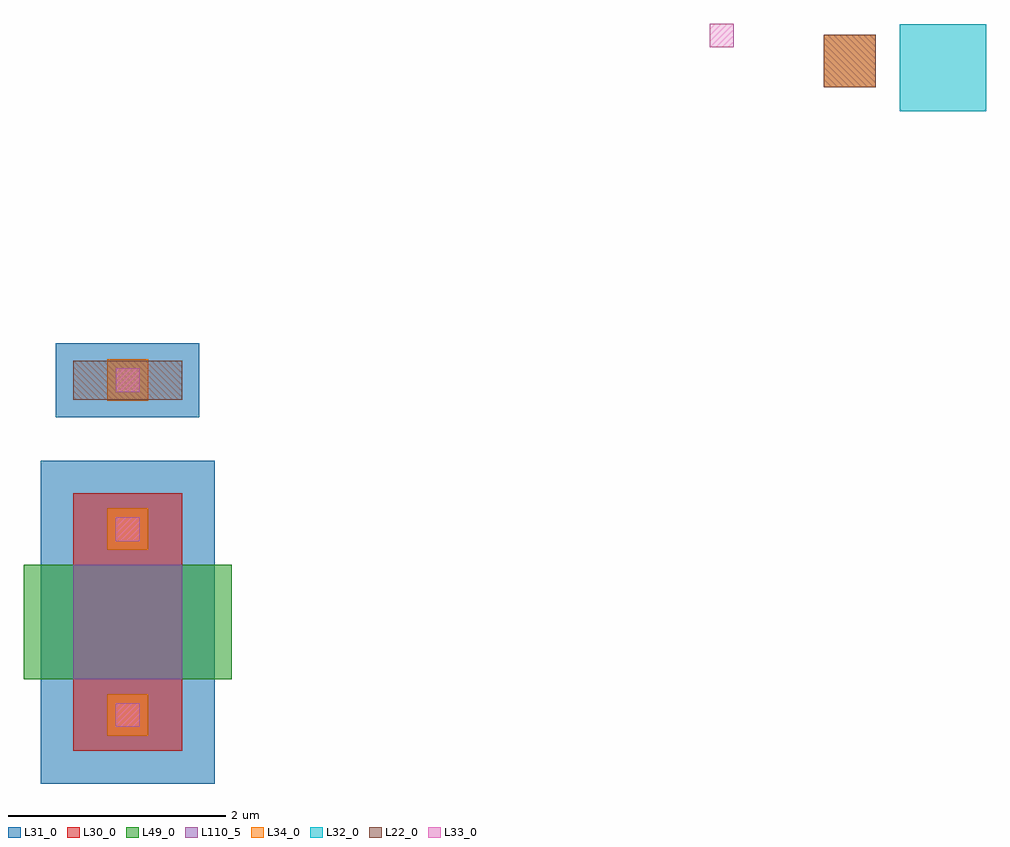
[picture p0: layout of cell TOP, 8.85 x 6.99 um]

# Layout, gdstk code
from math import pi, radians
import gdstk
lib = gdstk.Library(unit=1e-6, precision=5e-09)
def R(c, l, rs):  # rectangles x0, y0, x1, y1
    for r in rs: c.add(gdstk.rectangle(r[:2], r[2:], *l))
L22_0 = (22, 0)
L30_0 = (30, 0)
L31_0 = (31, 0)
L32_0 = (32, 0)
L33_0 = (33, 0)
L34_0 = (34, 0)
L49_0 = (49, 0)
L110_5 = (110, 5)

ppolyf_u_resistor = lib.new_cell('ppolyf_u_resistor')
R(ppolyf_u_resistor, L22_0, [(-1.88,0,-1.52,1)])
R(ppolyf_u_resistor, L30_0, [(-0.66,0,1.71,1)])
R(ppolyf_u_resistor, L31_0, [(-0.96,-0.3,2.01,1.3), (-2.04,-0.16,-1.36,1.16)])
R(ppolyf_u_resistor, L33_0, [(-1.81,0.39,-1.59,0.61), (-0.44,0.39,-0.22,0.61), (1.27,0.39,1.49,0.61)])
R(ppolyf_u_resistor, L34_0, [(-1.89,0.31,-1.51,0.69), (-0.52,0.31,-0.14,0.69), (1.19,0.31,1.57,0.69)])
R(ppolyf_u_resistor, L49_0, [(0,-0.455,1.05,1.455)])
R(ppolyf_u_resistor, L110_5, [(0,0,1.05,1)])
ppolyf_u_resistor.add(gdstk.Label('0', (-0.33,0.5), layer=34, texttype=10))
ppolyf_u_resistor.add(gdstk.Label('1', (1.38,0.5), layer=34, texttype=10))
ppolyf_u_resistor.add(gdstk.Label('s', (-1.7,0.5), layer=34, texttype=10))

top = lib.new_cell('TOP')
R(top, L22_0, [(21.305,19.42,21.785,19.9)])
R(top, L32_0, [(22.005,19.2,22.8,20)])
R(top, L33_0, [(20.26,19.785,20.48,20.005)])
R(top, L34_0, [(21.305,19.42,21.785,19.9)])
r = gdstk.Reference(ppolyf_u_resistor, (14.405,15.025), rotation=3*pi/2); r.repetition = gdstk.Repetition(1, 1, v1=(0,0), v2=(0,0)); top.add(r)

lib.write_gds('TOP.gds')
